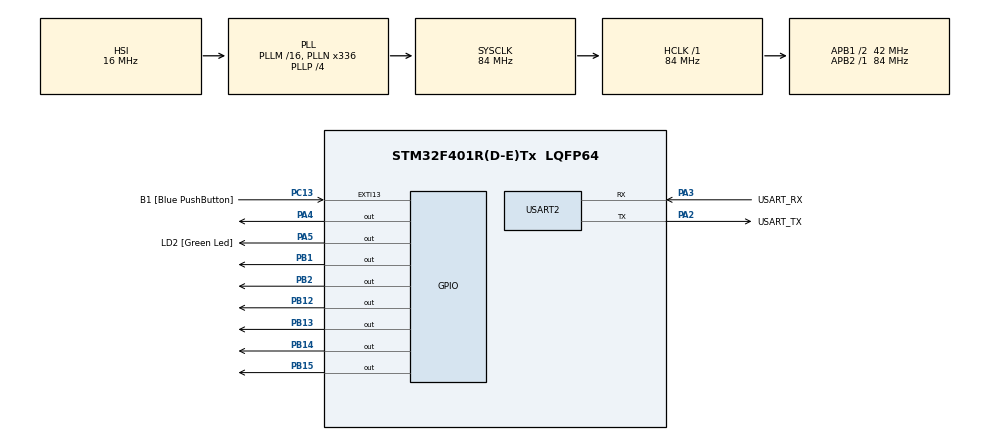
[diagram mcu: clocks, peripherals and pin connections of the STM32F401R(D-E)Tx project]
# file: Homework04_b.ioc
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Mcu.Family=STM32F4
Mcu.Name=STM32F401R(D-E)Tx
Mcu.Package=LQFP64
NVIC.PriorityGroup=NVIC_PRIORITYGROUP_4
NVIC.TIM2_IRQn=true\:0\:0\:false\:false\:true\:true\:true\:true
PA13.GPIO_Label=TMS
PA13.Mode=Trace_Asynchronous_SW
PA13.Signal=SYS_JTMS-SWDIO
PA14.GPIO_Label=TCK
PA14.Mode=Trace_Asynchronous_SW
PA14.Signal=SYS_JTCK-SWCLK
PA2.GPIO_Label=USART_TX
PA2.GPIO_Mode=GPIO_MODE_AF_PP
PA2.GPIO_PuPd=GPIO_NOPULL
PA2.GPIO_Speed=GPIO_SPEED_FREQ_LOW
PA2.Mode=Asynchronous
PA2.Signal=USART2_TX
PA3.GPIO_Label=USART_RX
PA3.GPIO_Mode=GPIO_MODE_AF_PP
PA3.GPIO_PuPd=GPIO_NOPULL
PA3.GPIO_Speed=GPIO_SPEED_FREQ_LOW
PA3.Mode=Asynchronous
PA3.Signal=USART2_RX
PA4.Signal=GPIO_Output
PA5.GPIO_Label=LD2 [Green Led]
PA5.GPIO_Mode=GPIO_MODE_OUTPUT_PP
PA5.GPIO_PuPd=GPIO_NOPULL
PA5.GPIO_Speed=GPIO_SPEED_FREQ_LOW
PA5.Signal=GPIO_Output
PB1.Signal=GPIO_Output
PB12.Signal=GPIO_Output
PB13.Signal=GPIO_Output
PB14.Signal=GPIO_Output
PB15.Signal=GPIO_Output
PB2.Signal=GPIO_Output
PB3.GPIO_Label=SWO
PB3.Mode=Trace_Asynchronous_SW
PB3.Signal=SYS_JTDO-SWO
PC13-ANTI_TAMP.GPIO_Label=B1 [Blue PushButton]
PC13-ANTI_TAMP.GPIO_ModeDefaultEXTI=GPIO_MODE_IT_FALLING
PC13-ANTI_TAMP.GPIO_PuPd=GPIO_NOPULL
PC13-ANTI_TAMP.Signal=GPXTI13
PC14-OSC32_IN.Mode=LSE-External-Oscillator
PC14-OSC32_IN.Signal=RCC_OSC32_IN
PC15-OSC32_OUT.Mode=LSE-External-Oscillator
PC15-OSC32_OUT.Signal=RCC_OSC32_OUT
PH0\ -\ OSC_IN.Mode=HSE-External-Clock-Source
PH0\ -\ OSC_IN.Signal=RCC_OSC_IN
PH1\ -\ OSC_OUT.Mode=HSE-External-Clock-Source
PH1\ -\ OSC_OUT.Signal=RCC_OSC_OUT
ProjectManager.HeapSize=0x200
ProjectManager.StackSize=0x400
ProjectManager.TargetToolchain=STM32CubeIDE
RCC.48MHZClocksFreq_Value=48000000
RCC.AHBFreq_Value=84000000
RCC.APB1CLKDivider=RCC_HCLK_DIV2
RCC.APB1Freq_Value=42000000
RCC.APB1TimFreq_Value=84000000
RCC.APB2Freq_Value=84000000
RCC.APB2TimFreq_Value=84000000
RCC.CortexFreq_Value=84000000
RCC.HCLKFreq_Value=84000000
RCC.HSE_VALUE=8000000
RCC.HSI_VALUE=16000000
RCC.PLLN=336
RCC.PLLP=RCC_PLLP_DIV4
RCC.PLLQ=7
RCC.SYSCLKFreq_VALUE=84000000
RCC.SYSCLKSource=RCC_SYSCLKSOURCE_PLLCLK
RCC.VCOOutputFreq_Value=336000000
TIM2.Period=9999
TIM2.Prescaler=8399
USART2.VirtualMode=VM_ASYNC
VP_TIM2_VS_ClockSourceINT.Mode=Internal
board=NUCLEO-F401RE

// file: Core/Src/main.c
/* USER CODE BEGIN Header */
/**
  ******************************************************************************
  * @file           : main.c
  * @brief          : Main program body
  ******************************************************************************
  * @attention
  *
  * Copyright (c) 2025 STMicroelectronics.
  * All rights reserved.
  *
  * This software is licensed under terms that can be found in the LICENSE file
  * in the root directory of this software component.
  * If no LICENSE file comes with this software, it is provided AS-IS.
  *
  ******************************************************************************
  */
/* USER CODE END Header */
#include "main.h"

/* USER CODE BEGIN Includes */
#include "PMDB16_LCD.h"

/* USER CODE END Includes */

TIM_HandleTypeDef htim2;

UART_HandleTypeDef huart2;

void SystemClock_Config(void);
static void MX_GPIO_Init(void);
static void MX_USART2_UART_Init(void);
static void MX_TIM2_Init(void);

/* USER CODE BEGIN 0 */
char* const names[] = {
	"Edoardo",
	"Greta",
	"Lorenzo",
	"Marco",
	"Mattia",
};
int i = -1;

void HAL_TIM_PeriodElapsedCallback(TIM_HandleTypeDef *htim) {
	if(htim == &htim2) {
		if (i >= 0) {
			lcd_println(names[i % (sizeof(names)/sizeof(*names))], 0);
		}
		lcd_println(names[++i % (sizeof(names)/sizeof(*names))], 1);
	}
}

/* USER CODE END 0 */

int main(void)
{

  /* MCU Configuration--------------------------------------------------------*/

  /* Reset of all peripherals, Initializes the Flash interface and the Systick. */
  HAL_Init();

  /* Configure the system clock */
  SystemClock_Config();

  /* Initialize all configured peripherals */
  MX_GPIO_Init();
  MX_USART2_UART_Init();
  MX_TIM2_Init();
  /* USER CODE BEGIN 2 */
  lcd_initialize();
  lcd_backlight_ON();
  HAL_TIM_Base_Start_IT(&htim2);

  /* USER CODE END 2 */

  /* Infinite loop */
  while (1)
  {

  }
}

void SystemClock_Config(void)
{
  RCC_OscInitTypeDef RCC_OscInitStruct = {0};
  RCC_ClkInitTypeDef RCC_ClkInitStruct = {0};

  /** Configure the main internal regulator output voltage
  */
  __HAL_RCC_PWR_CLK_ENABLE();
  __HAL_PWR_VOLTAGESCALING_CONFIG(PWR_REGULATOR_VOLTAGE_SCALE2);

  /** Initializes the RCC Oscillators according to the specified parameters
  * in the RCC_OscInitTypeDef structure.
  */
  RCC_OscInitStruct.OscillatorType = RCC_OSCILLATORTYPE_HSI;
  RCC_OscInitStruct.HSIState = RCC_HSI_ON;
  RCC_OscInitStruct.HSICalibrationValue = RCC_HSICALIBRATION_DEFAULT;
  RCC_OscInitStruct.PLL.PLLState = RCC_PLL_ON;
  RCC_OscInitStruct.PLL.PLLSource = RCC_PLLSOURCE_HSI;
  RCC_OscInitStruct.PLL.PLLM = 16;
  RCC_OscInitStruct.PLL.PLLN = 336;
  RCC_OscInitStruct.PLL.PLLP = RCC_PLLP_DIV4;
  RCC_OscInitStruct.PLL.PLLQ = 7;
  if (HAL_RCC_OscConfig(&RCC_OscInitStruct) != HAL_OK)
  {
    Error_Handler();
  }

  /** Initializes the CPU, AHB and APB buses clocks
  */
  RCC_ClkInitStruct.ClockType = RCC_CLOCKTYPE_HCLK|RCC_CLOCKTYPE_SYSCLK
                              |RCC_CLOCKTYPE_PCLK1|RCC_CLOCKTYPE_PCLK2;
  RCC_ClkInitStruct.SYSCLKSource = RCC_SYSCLKSOURCE_PLLCLK;
  RCC_ClkInitStruct.AHBCLKDivider = RCC_SYSCLK_DIV1;
  RCC_ClkInitStruct.APB1CLKDivider = RCC_HCLK_DIV2;
  RCC_ClkInitStruct.APB2CLKDivider = RCC_HCLK_DIV1;

  if (HAL_RCC_ClockConfig(&RCC_ClkInitStruct, FLASH_LATENCY_2) != HAL_OK)
  {
    Error_Handler();
  }
}

static void MX_TIM2_Init(void)
{

  TIM_ClockConfigTypeDef sClockSourceConfig = {0};
  TIM_MasterConfigTypeDef sMasterConfig = {0};

  htim2.Instance = TIM2;
  htim2.Init.Prescaler = 8399;
  htim2.Init.CounterMode = TIM_COUNTERMODE_UP;
  htim2.Init.Period = 9999;
  htim2.Init.ClockDivision = TIM_CLOCKDIVISION_DIV1;
  htim2.Init.AutoReloadPreload = TIM_AUTORELOAD_PRELOAD_DISABLE;
  if (HAL_TIM_Base_Init(&htim2) != HAL_OK)
  {
    Error_Handler();
  }
  sClockSourceConfig.ClockSource = TIM_CLOCKSOURCE_INTERNAL;
  if (HAL_TIM_ConfigClockSource(&htim2, &sClockSourceConfig) != HAL_OK)
  {
    Error_Handler();
  }
  sMasterConfig.MasterOutputTrigger = TIM_TRGO_RESET;
  sMasterConfig.MasterSlaveMode = TIM_MASTERSLAVEMODE_DISABLE;
  if (HAL_TIMEx_MasterConfigSynchronization(&htim2, &sMasterConfig) != HAL_OK)
  {
    Error_Handler();
  }

}

static void MX_USART2_UART_Init(void)
{

  huart2.Instance = USART2;
  huart2.Init.BaudRate = 115200;
  huart2.Init.WordLength = UART_WORDLENGTH_8B;
  huart2.Init.StopBits = UART_STOPBITS_1;
  huart2.Init.Parity = UART_PARITY_NONE;
  huart2.Init.Mode = UART_MODE_TX_RX;
  huart2.Init.HwFlowCtl = UART_HWCONTROL_NONE;
  huart2.Init.OverSampling = UART_OVERSAMPLING_16;
  if (HAL_UART_Init(&huart2) != HAL_OK)
  {
    Error_Handler();
  }

}

static void MX_GPIO_Init(void)
{
  GPIO_InitTypeDef GPIO_InitStruct = {0};

  /* GPIO Ports Clock Enable */
  __HAL_RCC_GPIOC_CLK_ENABLE();
  __HAL_RCC_GPIOH_CLK_ENABLE();
  __HAL_RCC_GPIOA_CLK_ENABLE();
  __HAL_RCC_GPIOB_CLK_ENABLE();

  /*Configure GPIO pin Output Level */
  HAL_GPIO_WritePin(GPIOA, GPIO_PIN_4|LD2_Pin, GPIO_PIN_RESET);

  /*Configure GPIO pin Output Level */
  HAL_GPIO_WritePin(GPIOB, GPIO_PIN_1|GPIO_PIN_2|GPIO_PIN_12|GPIO_PIN_13
                          |GPIO_PIN_14|GPIO_PIN_15, GPIO_PIN_RESET);

  /*Configure GPIO pin : B1_Pin */
  GPIO_InitStruct.Pin = B1_Pin;
  GPIO_InitStruct.Mode = GPIO_MODE_IT_FALLING;
  GPIO_InitStruct.Pull = GPIO_NOPULL;
  HAL_GPIO_Init(B1_GPIO_Port, &GPIO_InitStruct);

  /*Configure GPIO pins : PA4 LD2_Pin */
  GPIO_InitStruct.Pin = GPIO_PIN_4|LD2_Pin;
  GPIO_InitStruct.Mode = GPIO_MODE_OUTPUT_PP;
  GPIO_InitStruct.Pull = GPIO_NOPULL;
  GPIO_InitStruct.Speed = GPIO_SPEED_FREQ_LOW;
  HAL_GPIO_Init(GPIOA, &GPIO_InitStruct);

  /*Configure GPIO pins : PB1 PB2 PB12 PB13
                           PB14 PB15 */
  GPIO_InitStruct.Pin = GPIO_PIN_1|GPIO_PIN_2|GPIO_PIN_12|GPIO_PIN_13
                          |GPIO_PIN_14|GPIO_PIN_15;
  GPIO_InitStruct.Mode = GPIO_MODE_OUTPUT_PP;
  GPIO_InitStruct.Pull = GPIO_NOPULL;
  GPIO_InitStruct.Speed = GPIO_SPEED_FREQ_LOW;
  HAL_GPIO_Init(GPIOB, &GPIO_InitStruct);

}

void Error_Handler(void)
{
  __disable_irq();
  while (1)
  {
  }
}
